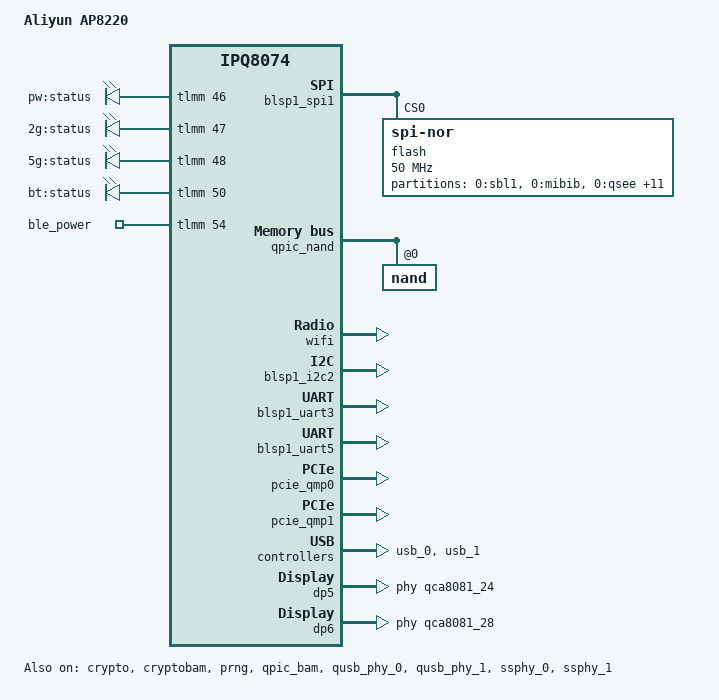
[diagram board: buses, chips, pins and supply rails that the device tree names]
// SPDX-License-Identifier: GPL-2.0-or-later OR MIT

/dts-v1/;

#include "ipq8071-edgecore.dtsi"

/ {
	model = "Aliyun AP8220";
	compatible = "aliyun,ap8220", "qcom,ipq8074";

	leds {
		compatible = "gpio-leds";

		led_pw: pw {
			label = "pw:status";
			gpios = <&tlmm 46 GPIO_ACTIVE_HIGH>;
		};

		led_2g: led-2g {
			label = "2g:status";
			gpios = <&tlmm 47 GPIO_ACTIVE_HIGH>;
		};

		led_5g: led-5g {
			label = "5g:status";
			gpios = <&tlmm 48 GPIO_ACTIVE_HIGH>;
		};

		led_bt: led-bt {
			label = "bt:status";
			gpios = <&tlmm 50 GPIO_ACTIVE_HIGH>;
		};
	};

	gpio-export {
		compatible = "gpio-export";

		ble-power {
			gpio-export,name = "ble_power";
			gpio-export,output = <1>;
			gpios = <&tlmm 54 GPIO_ACTIVE_HIGH>;
		};
	};
};

&blsp1_spi1 {
	status = "okay";

	flash@0 {
		compatible = "jedec,spi-nor";
		spi-max-frequency = <50000000>;
		#address-cells = <1>;
		#size-cells = <1>;
		reg = <0>;

		partitions {
			compatible = "fixed-partitions";
			#address-cells = <1>;
			#size-cells = <1>;

			partition@0 {
				label = "0:sbl1";
				reg = <0x00000000 0x00050000>;
			};

			partition@50000 {
				label = "0:mibib";
				reg = <0x00050000 0x00010000>;
			};

			partition@60000 {
				label = "0:qsee";
				reg = <0x00060000 0x00180000>;
			};

			partition@1e0000 {
				label = "0:devcfg";
				reg = <0x001e0000 0x00010000>;
			};

			partition@1f0000 {
				label = "0:apdp";
				reg = <0x001f0000 0x00010000>;
			};

			partition@200000 {
				label = "0:rpm";
				reg = <0x00200000 0x00040000>;
			};

			partition@240000 {
				label = "0:cdt";
				reg = <0x00240000 0x00010000>;
			};

			partition@250000 {
				label = "0:appsblenv";
				reg = <0x00250000 0x00010000>;
			};

			partition@260000 {
				label = "0:appsbl";
				reg = <0x00260000 0x000a0000>;
			};

			partition@300000 {
				label = "0:art";
				reg = <0x00300000 0x00040000>;
			};

			partition@340000 {
				label = "0:ethphyfw";
				reg = <0x00340000 0x00080000>;
			};

			partition@3c0000 {
				label = "product_info";
				reg = <0x003c0000 0x00010000>;
			};

			partition@3d0000 {
				label = "mtdoops";
				reg = <0x003d0000 0x00020000>;
			};

			partition@3f0000 {
				label = "priv_data1";
				reg = <0x003f0000 0x00010000>;
			};
		};
	};
};

&qpic_nand {
	status = "okay";

	nand@0 {
		#address-cells = <1>;
		#size-cells = <1>;
		reg = <0>;

		nand-ecc-strength = <4>;
		nand-ecc-step-size = <512>;
		nand-bus-width = <8>;
	};
};

&wifi {
	status = "okay";
	qcom,ath11k-fw-memory-mode = <1>;
	qcom,ath11k-calibration-variant = "Aliyun-AP8220";
};

&blsp1_i2c2 {
	status = "okay";
};

&blsp1_spi1 {
	status = "okay";
};

&blsp1_uart3 {
	status = "okay";
};

&blsp1_uart5 {
	status = "okay";
};

&crypto {
	status = "okay";
};

&cryptobam {
	status = "okay";
};

&pcie_qmp0 {
	status = "okay";
};

&pcie_qmp1 {
	status = "okay";
};

&prng {
	status = "okay";
};

&qpic_bam {
	status = "okay";
};

&qusb_phy_0 {
	status = "okay";
};

&qusb_phy_1 {
	status = "okay";
};

&ssphy_0 {
	status = "okay";
};

&ssphy_1 {
	status = "okay";
};

&usb_0 {
	status = "okay";
};

&usb_1 {
	status = "okay";
};

&dp5 {
	status = "okay";
	phy-handle = <&qca8081_24>;
	label = "wan";
};

&dp6 {
	status = "okay";
	phy-handle = <&qca8081_28>;
	label = "lan";
};


